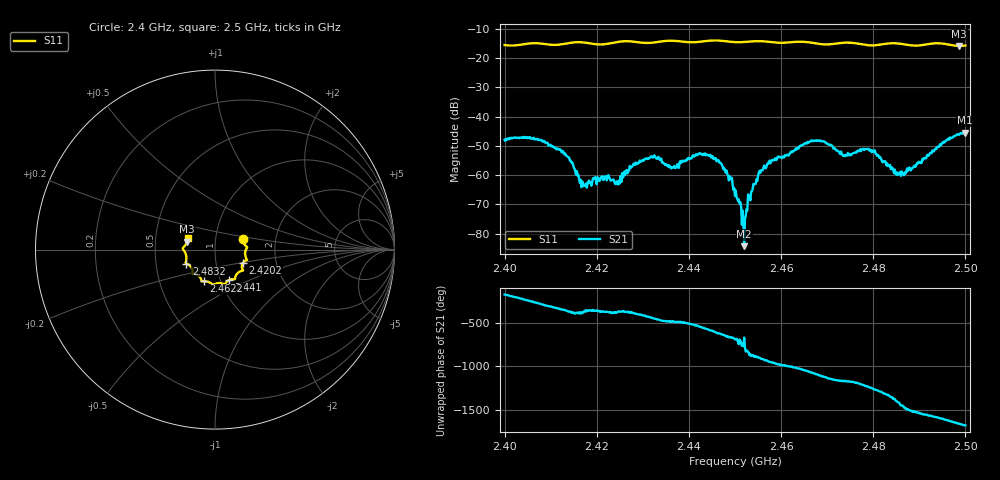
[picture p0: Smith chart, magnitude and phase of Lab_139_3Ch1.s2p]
# Hz S RI R 50
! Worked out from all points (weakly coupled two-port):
!   601 points, 2.4 GHz to 2.5 GHz, reference 50 ohm
!   highest |S21| = -45.53 dB at 2.4998 GHz (marker M1); lowest = -84.3 dB at 2.452 GHz (marker M2)
!   lowest |S11| = -15.8 dB at 2.4987 GHz (marker M3), VSWR 1.39, Z = 36.4 + j3.29 ohm
!   |S11| at or under -10 dB: start of sweep to end of sweep
!   S12 and S22 are empty: the file has one direction only
!   S11 on the Smith chart (normalised r, x): 2.4 GHz: 1.36, +0.17; 2.4202 GHz: 1.35, -0.20; 2.441 GHz: 1.09, -0.39; 2.4622 GHz: 0.83, -0.30; 2.4832 GHz: 0.72, -0.12; 2.5 GHz: 0.73, +0.09
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2.4e9  0.1563 0.0602  -0.00401 -0.000292  0 0  0 0
2.412167e9  0.1684 -0.0323  0.00261 0.000802  0 0  0 0
2.416667e9  0.1776 -0.0583  0.000532 -0.000321  0 0  0 0
2.420167e9  0.1564 -0.072  0.000922 -7.52e-05  0 0  0 0
2.4245e9  0.1539 -0.1106  0.000678 -0.000238  0 0  0 0
2.433333e9  0.1132 -0.1523  -0.000472 -0.00199  0 0  0 0
2.436667e9  0.1094 -0.1656  -0.000808 -0.00107  0 0  0 0
2.441e9  0.0768 -0.1705  -0.00205 -0.000688  0 0  0 0
2.446667e9  0.0498 -0.1934  -0.000176 0.00162  0 0  0 0
2.45e9  0.0266 -0.1862  0.000392 0.000201  0 0  0 0
2.452e9  0.00754 -0.1888  3.97e-05 4.61e-05  0 0  0 0
2.455667e9  -0.0126 -0.1947  -0.00117 0.000332  0 0  0 0
2.462167e9  -0.0628 -0.1766  0.000749 0.00243  0 0  0 0
2.466667e9  -0.0768 -0.167  0.00377 0.000439  0 0  0 0
2.473833e9  -0.1238 -0.1363  -4.47e-05 -0.0021  0 0  0 0
2.479e9  -0.1299 -0.1034  -0.00261 -0.00104  0 0  0 0
2.483167e9  -0.16 -0.0778  -0.000504 0.00133  0 0  0 0
2.483333e9  -0.1608 -0.0774  -0.000456 0.00143  0 0  0 0
2.4865e9  -0.1617 -0.0639  0.000973 -0.000322  0 0  0 0
2.498667e9  -0.1556 0.044  -0.00366 0.00324  0 0  0 0
2.499833e9  -0.1528 0.0605  -0.00273 0.00453  0 0  0 0
2.5e9  -0.1526 0.0627  -0.00251 0.00458  0 0  0 0
